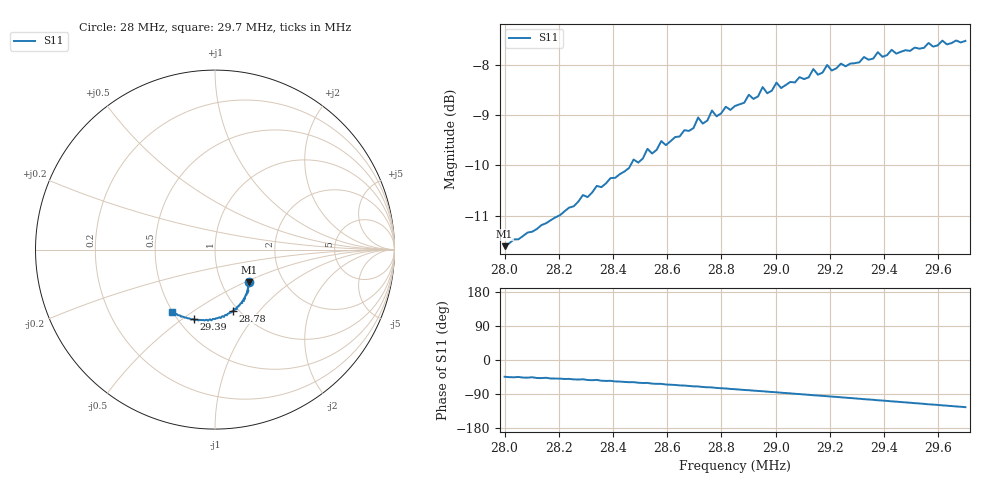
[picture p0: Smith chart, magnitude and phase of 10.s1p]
# Hz S RI R 50
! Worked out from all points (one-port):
!   101 points, 28 MHz to 29.7 MHz, reference 50 ohm
!   lowest |S11| = -11.6 dB at 28 MHz (marker M1), VSWR 1.71, Z = 67.2 - j26.5 ohm
!   |S11| at or under -10 dB: start of sweep to 28.46 MHz
!   S11 on the Smith chart (normalised r, x): 28 MHz: 1.34, -0.53; 28.78 MHz: 0.94, -0.73; 29.39 MHz: 0.60, -0.55; 29.7 MHz: 0.50, -0.42
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2.8e7  0.1883 -0.1833
2.8221e7  0.1825 -0.2185
2.8289e7  0.1868 -0.2289
2.8306e7  0.1779 -0.2342
2.834e7  0.1835 -0.2396
2.8357e7  0.1739 -0.2455
2.8425e7  0.1692 -0.2597
2.8527e7  0.162 -0.2858
2.8544e7  0.1511 -0.2877
2.8578e7  0.1523 -0.2978
2.8646e7  0.132 -0.3112
2.8714e7  0.1221 -0.3313
2.8731e7  0.1124 -0.3295
2.8765e7  0.1093 -0.3417
2.8782e7  0.0991 -0.3398
2.885e7  0.0811 -0.3533
2.8935e7  0.0534 -0.3667
2.8952e7  0.0498 -0.3753
2.8969e7  0.0419 -0.3709
2.9003e7  0.0321 -0.3811
2.9071e7  0.00605 -0.3826
2.9139e7  -0.0201 -0.3941
2.9156e7  -0.0254 -0.3887
2.919e7  -0.0391 -0.3963
2.9275e7  -0.0714 -0.3931
2.9394e7  -0.1188 -0.388
2.9496e7  -0.1594 -0.3792
2.97e7  -0.2381 -0.3471
